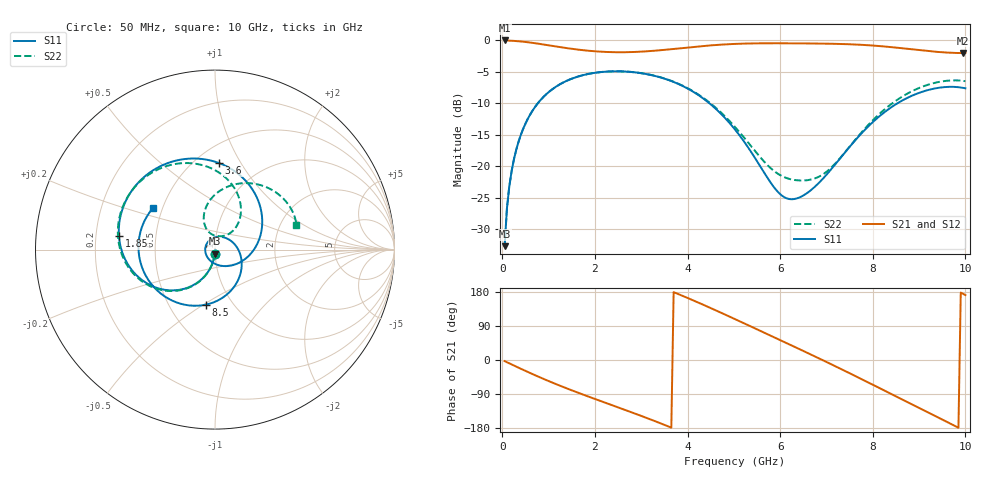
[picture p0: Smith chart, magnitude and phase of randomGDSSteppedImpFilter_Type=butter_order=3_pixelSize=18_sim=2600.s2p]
! freq	dB(S11)	phase(S11)	dB(S12)	phase(S12)
!  dB(S21)	phase(S21)	dB(S22)	phase(S22)
!S-par simulation data
#  GHz  S  DB  R 50
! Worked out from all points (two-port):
!   200 points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, 50 MHz to 10 GHz, reference 50 ohm
!   highest |S21| = -0.01 dB at 50 MHz (marker M1); lowest = -2.0 dB at 9.95 GHz (marker M2)
!   |S21| within 3 dB of the highest: start of sweep to end of sweep
!   lowest |S11| = -32.7 dB at 50 MHz (marker M3), VSWR 1.05, Z = 49.8 - j2.3 ohm
!   |S11| at or under -10 dB: start of sweep to 767.9 MHz; 4.472 GHz to 8.534 GHz (4.061 GHz wide, 62.5 % of centre)
!   |S22| runs from -32.7 to -4.9 dB; largest |S21 - S12| = 0
!   S11 on the Smith chart (normalised r, x): 50 MHz: 1.00, -0.05; 1.85 GHz: 0.30, +0.06; 3.6 GHz: 0.65, +0.81; 8.5 GHz: 0.75, -0.51; 10 GHz: 0.44, +0.25
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0.05  -32.73 -93.0  -0.01 -3.0  -0.01 -3.0  -32.72 -92.9
0.1  -26.75 -96.3  -0.02 -5.9  -0.02 -5.9  -26.74 -96.3
0.2  -20.84 -102.2  -0.06 -11.7  -0.06 -11.7  -20.84 -102.1
0.5  -13.24 -119.4  -0.25 -28.8  -0.25 -28.8  -13.24 -118.9
1.1  -7.66 -151.7  -0.89 -60.6  -0.89 -60.6  -7.66 -150.5
1.75  -5.51 176.7  -1.56 -91.6  -1.56 -91.6  -5.51 179.2
1.85  -5.35 172.0  -1.64 -96.1  -1.64 -96.1  -5.35 174.8
2.55  -4.92 139.7  -1.88 -127.2  -1.88 -127.2  -4.91 145.0
3.4  -5.85 98.0  -1.57 -166.3  -1.57 -166.3  -5.83 109.4
3.6  -6.33 87.3  -1.43 -176.0  -1.43 -176.0  -6.30 100.9
4.3  -9.03 45.5  -0.92 147.9  -0.92 147.9  -8.93 72.2
5.05  -14.40 -10.8  -0.55 106.5  -0.55 106.5  -13.98 49.1
5.8  -22.67 -99.7  -0.46 63.9  -0.46 63.9  -20.35 54.4
6.2  -25.23 -173.6  -0.46 41.1  -0.46 41.1  -22.03 70.6
6.7  -23.60 97.3  -0.49 12.4  -0.49 12.4  -22.06 91.3
7.45  -17.36 -4.8  -0.60 -31.9  -0.60 -31.9  -17.34 112.8
7.9  -13.70 -49.5  -0.76 -59.1  -0.76 -59.1  -13.47 106.4
8.35  -10.89 -87.6  -1.03 -86.6  -1.03 -86.6  -10.40 90.9
8.5  -10.15 -99.4  -1.14 -95.7  -1.14 -95.7  -9.59 84.6
9.25  -7.79 -155.5  -1.73 -141.4  -1.73 -141.4  -6.92 50.4
9.95  -7.55 150.3  -2.01 174.6  -2.01 174.6  -6.43 18.8
10  -7.62 146.0  -2.01 171.3  -2.01 171.3  -6.48 16.7
